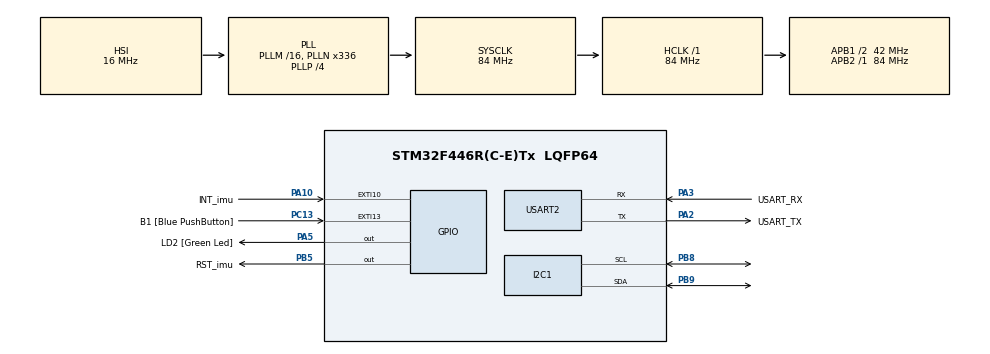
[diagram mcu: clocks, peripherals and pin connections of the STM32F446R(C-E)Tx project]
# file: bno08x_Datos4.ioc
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I2C1.I2C_Mode=I2C_Fast
Mcu.Family=STM32F4
Mcu.Name=STM32F446R(C-E)Tx
Mcu.Package=LQFP64
NVIC.EXTI15_10_IRQn=true\:0\:0\:false\:false\:true\:true\:true\:true
NVIC.PriorityGroup=NVIC_PRIORITYGROUP_0
PA10.GPIO_Label=INT_imu
PA10.GPIO_ModeDefaultEXTI=GPIO_MODE_IT_FALLING
PA10.GPIO_PuPd=GPIO_PULLUP
PA10.Signal=GPXTI10
PA13.GPIO_Label=TMS
PA13.Mode=Serial_Wire
PA13.Signal=SYS_JTMS-SWDIO
PA14.GPIO_Label=TCK
PA14.Mode=Serial_Wire
PA14.Signal=SYS_JTCK-SWCLK
PA2.GPIO_Label=USART_TX
PA2.Mode=Asynchronous
PA2.Signal=USART2_TX
PA3.GPIO_Label=USART_RX
PA3.Mode=Asynchronous
PA3.Signal=USART2_RX
PA5.GPIO_Label=LD2 [Green Led]
PA5.Signal=GPIO_Output
PB3.GPIO_Label=SWO
PB3.Signal=SYS_JTDO-SWO
PB5.GPIO_Label=RST_imu
PB5.Signal=GPIO_Output
PB8.Mode=I2C
PB8.Signal=I2C1_SCL
PB9.Mode=I2C
PB9.Signal=I2C1_SDA
PC13.GPIO_Label=B1 [Blue PushButton]
PC13.GPIO_ModeDefaultEXTI=GPIO_MODE_IT_FALLING
PC13.Signal=GPXTI13
PC14-OSC32_IN.Mode=LSE-External-Oscillator
PC14-OSC32_IN.Signal=RCC_OSC32_IN
PC15-OSC32_OUT.Mode=LSE-External-Oscillator
PC15-OSC32_OUT.Signal=RCC_OSC32_OUT
PH0-OSC_IN.Mode=HSE-External-Oscillator
PH0-OSC_IN.Signal=RCC_OSC_IN
PH1-OSC_OUT.Mode=HSE-External-Oscillator
PH1-OSC_OUT.Signal=RCC_OSC_OUT
ProjectManager.HeapSize=0x200
ProjectManager.StackSize=0x400
ProjectManager.TargetToolchain=STM32CubeIDE
RCC.48MHZClocksFreq_Value=84000000
RCC.AHBFreq_Value=84000000
RCC.APB1CLKDivider=RCC_HCLK_DIV2
RCC.APB1Freq_Value=42000000
RCC.APB1TimFreq_Value=84000000
RCC.APB2Freq_Value=84000000
RCC.APB2TimFreq_Value=84000000
RCC.CortexFreq_Value=84000000
RCC.FLatency-AdvancedSettings=FLASH_LATENCY_2
RCC.HCLKFreq_Value=84000000
RCC.HSE_VALUE=8000000
RCC.HSI_VALUE=16000000
RCC.PLLN=336
RCC.PLLP=RCC_PLLP_DIV4
RCC.SYSCLKFreq_VALUE=84000000
RCC.SYSCLKSource=RCC_SYSCLKSOURCE_PLLCLK
RCC.USBFreq_Value=168000000
RCC.VCOOutputFreq_Value=336000000
USART2.VirtualMode=VM_ASYNC
board=NUCLEO-F446RE

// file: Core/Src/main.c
/* USER CODE BEGIN Header */
/**
  ******************************************************************************
  * @file           : main.c
  * @brief          : Main program body
  ******************************************************************************
  * @attention
  *
  * Copyright (c) 2026 STMicroelectronics.
  * All rights reserved.
  *
  * This software is licensed under terms that can be found in the LICENSE file
  * in the root directory of this software component.
  * If no LICENSE file comes with this software, it is provided AS-IS.
  *
  ******************************************************************************
  */
/* USER CODE END Header */
#include "main.h"
#include "i2c.h"
#include "usart.h"
#include "gpio.h"

/* USER CODE BEGIN Includes */
#include "sh2.h"
#include "sh2_SensorValue.h"
#include "sh2_err.h"
#include <stdio.h>
#include <math.h>
/* USER CODE END Includes */

/* USER CODE BEGIN PV */
volatile float ax, ay, az;
volatile float heading, roll, pitch;
volatile int print_flag = 0;

/* USER CODE END PV */

void SystemClock_Config(void);
/* USER CODE BEGIN PFP */
void sensorCallback(void *cookie, sh2_SensorEvent_t *event);
/* USER CODE END PFP */

int main(void)
{

  /* MCU Configuration--------------------------------------------------------*/

  /* Reset of all peripherals, Initializes the Flash interface and the Systick. */
  HAL_Init();

  /* Configure the system clock */
  SystemClock_Config();

  /* Initialize all configured peripherals */
  MX_GPIO_Init();
  MX_USART2_UART_Init();
  MX_I2C1_Init();
  /* USER CODE BEGIN 2 */
  sh2_hal_init();

  sh2_setSensorCallback(sensorCallback, NULL);
  sh2_SensorConfig_t cfg;
  cfg.changeSensitivityEnabled = false;
  cfg.changeSensitivityRelative = false;
  cfg.wakeupEnabled = false;
  cfg.alwaysOnEnabled = false;
  cfg.changeSensitivity = 0;
  cfg.reportInterval_us = 5000; // 200 Hz

  int status = sh2_setSensorConfig(SH2_ACCELEROMETER, &cfg);
  if (status != SH2_OK)
  {
      Error_Handler();
  }

  // Configurar orientación absoluta (Rotation Vector)
  sh2_SensorConfig_t cfg_rv = cfg;
  cfg_rv.reportInterval_us = 10000;   // 100 Hz para orientación

  status = sh2_setSensorConfig(SH2_ROTATION_VECTOR, &cfg_rv);
  if (status != SH2_OK)
  {
      Error_Handler();
  }

  /* USER CODE END 2 */

  /* Infinite loop */
  while (1)
  {
	  sh2_service();
	  if (print_flag)
	  {
	      print_flag = 0;

	      char buffer[128];
	      int len = snprintf(buffer, sizeof(buffer),
	          "@imu:%.2f;%.2f;%.2f;%.2f;%.2f;%.2f;\r\n",
	          roll, pitch, heading, ax, ay, az);

	      HAL_UART_Transmit(&huart2, (uint8_t*)buffer, len, HAL_MAX_DELAY);
	  }

  }
}

void SystemClock_Config(void)
{
  RCC_OscInitTypeDef RCC_OscInitStruct = {0};
  RCC_ClkInitTypeDef RCC_ClkInitStruct = {0};

  /** Configure the main internal regulator output voltage
  */
  __HAL_RCC_PWR_CLK_ENABLE();
  __HAL_PWR_VOLTAGESCALING_CONFIG(PWR_REGULATOR_VOLTAGE_SCALE3);

  /** Initializes the RCC Oscillators according to the specified parameters
  * in the RCC_OscInitTypeDef structure.
  */
  RCC_OscInitStruct.OscillatorType = RCC_OSCILLATORTYPE_HSI;
  RCC_OscInitStruct.HSIState = RCC_HSI_ON;
  RCC_OscInitStruct.HSICalibrationValue = RCC_HSICALIBRATION_DEFAULT;
  RCC_OscInitStruct.PLL.PLLState = RCC_PLL_ON;
  RCC_OscInitStruct.PLL.PLLSource = RCC_PLLSOURCE_HSI;
  RCC_OscInitStruct.PLL.PLLM = 16;
  RCC_OscInitStruct.PLL.PLLN = 336;
  RCC_OscInitStruct.PLL.PLLP = RCC_PLLP_DIV4;
  RCC_OscInitStruct.PLL.PLLQ = 2;
  RCC_OscInitStruct.PLL.PLLR = 2;
  if (HAL_RCC_OscConfig(&RCC_OscInitStruct) != HAL_OK)
  {
    Error_Handler();
  }

  /** Initializes the CPU, AHB and APB buses clocks
  */
  RCC_ClkInitStruct.ClockType = RCC_CLOCKTYPE_HCLK|RCC_CLOCKTYPE_SYSCLK
                              |RCC_CLOCKTYPE_PCLK1|RCC_CLOCKTYPE_PCLK2;
  RCC_ClkInitStruct.SYSCLKSource = RCC_SYSCLKSOURCE_PLLCLK;
  RCC_ClkInitStruct.AHBCLKDivider = RCC_SYSCLK_DIV1;
  RCC_ClkInitStruct.APB1CLKDivider = RCC_HCLK_DIV2;
  RCC_ClkInitStruct.APB2CLKDivider = RCC_HCLK_DIV1;

  if (HAL_RCC_ClockConfig(&RCC_ClkInitStruct, FLASH_LATENCY_2) != HAL_OK)
  {
    Error_Handler();
  }
}

/* USER CODE BEGIN 4 */

void sensorCallback(void *cookie, sh2_SensorEvent_t *event)
{
    sh2_SensorValue_t value;

    if (sh2_decodeSensorEvent(&value, event) != SH2_OK)
        return;

    switch (value.sensorId)
    {
        case SH2_ACCELEROMETER:
            ax = value.un.accelerometer.x;
            ay = value.un.accelerometer.y;
            az = value.un.accelerometer.z;
            break;

        case SH2_ROTATION_VECTOR:
        {
            float qw = value.un.rotationVector.real;
            float qx = value.un.rotationVector.i;
            float qy = value.un.rotationVector.j;
            float qz = value.un.rotationVector.k;

            roll  = atan2f(2.0f*(qw*qx + qy*qz),
                            1.0f - 2.0f*(qx*qx + qy*qy)) * 57.2958f;

            pitch = asinf (2.0f*(qw*qy - qz*qx)) * 57.2958f;

            heading = atan2f(2.0f*(qw*qz + qx*qy),
                              1.0f - 2.0f*(qy*qy + qz*qz)) * 57.2958f;

            print_flag = 1;
            break;
        }

        default:
            break;
    }
}

void HAL_GPIO_EXTI_Callback(uint16_t GPIO_Pin)
{
	if(GPIO_Pin == B1_Pin)
	{
		HAL_GPIO_TogglePin(GPIOA, LD2_Pin);
	}
	if(GPIO_Pin == INT_imu_Pin)
	{
		HAL_GPIO_TogglePin(GPIOA, LD2_Pin);
	}

	}
/* USER CODE END 4 */

void Error_Handler(void)
{
  __disable_irq();
  while (1)
  {
  }
}
